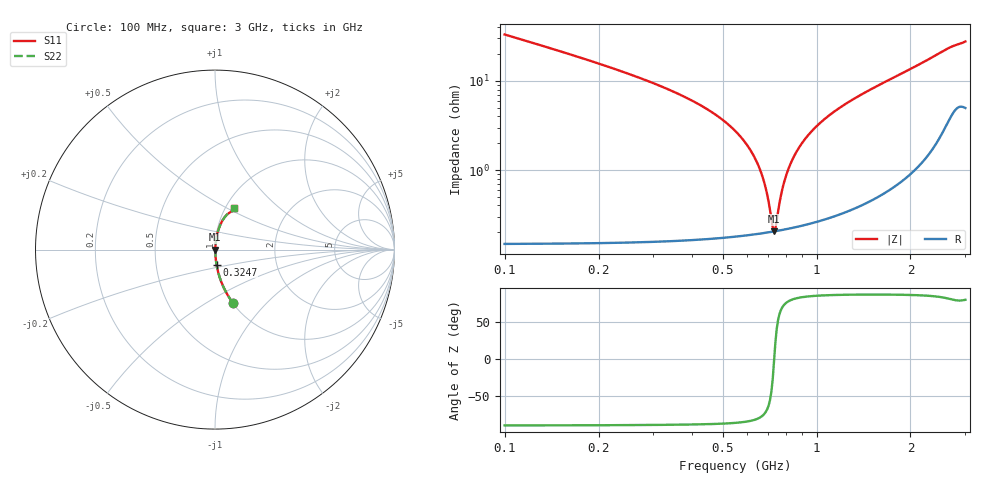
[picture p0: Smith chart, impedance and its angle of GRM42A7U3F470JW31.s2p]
!Murata Part Number: GRM42A7U3F470JW31
!These Parameters are Measured in Series Mode Connection
!Data Generated on Mar 30, 2021
!  o--ll--o
!Port1  Port2
!  o------o
!Operation Temp=25[degC], DC Bias Voltage=0[V]
!Freq. Start=100[MHz] Stop=3[GHz] 401[Steps]
# Hz S RI R 50
!Freq.(Hz) S11(Real) S11(Imag) S21(Real) S21(Imag) S12(Real) S12(Imag) S22(Real) S22(Imag)
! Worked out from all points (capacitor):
!   401 points, 100 MHz to 3 GHz, reference 50 ohm
!   read as one part in series: C = 46.9 pF near 114.5 MHz
!   lowest |Z| = 205 mohm at 730.8 MHz (marker M1)
!   series resonance near 731.6 MHz, so ESL is about 1 nH
!   S11 on the Smith chart (normalised r, x): 100 MHz: 1.00, -0.66; 324.8 MHz: 1.00, -0.17; 3 GHz: 1.10, +0.55
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1e8  0.1006 -0.2986  0.8994 0.2986  0.8994 0.2986  0.1006 -0.2986
1.9425e8  0.0271 -0.1577  0.9729 0.1577  0.9729 0.1577  0.0271 -0.1577
3.2475e8  0.00857 -0.0833  0.9914 0.0833  0.9914 0.0833  0.00857 -0.0833
4.915e8  0.00317 -0.0381  0.9968 0.0381  0.9968 0.0381  0.00317 -0.0381
5.8575e8  0.00227 -0.021  0.9977 0.021  0.9977 0.021  0.00227 -0.021
6.2925e8  0.00209 -0.0142  0.9979 0.0142  0.9979 0.0142  0.00209 -0.0142
6.655e8  0.00202 -0.00893  0.998 0.00893  0.998 0.00893  0.00202 -0.00893
6.8725e8  0.00201 -0.0059  0.998 0.0059  0.998 0.0059  0.00201 -0.0059
7.1625e8  0.00202 -0.002  0.998 0.002  0.998 0.002  0.00202 -0.002
7.3075e8  0.00204 -0.000105  0.998 0.000105  0.998 0.000105  0.00204 -0.000105
7.4525e8  0.00207 0.00176  0.9979 -0.00176  0.9979 -0.00176  0.00207 0.00176
7.67e8  0.00212 0.00449  0.9979 -0.00449  0.9979 -0.00449  0.00212 0.00449
7.8875e8  0.00219 0.00716  0.9978 -0.00716  0.9978 -0.00716  0.00219 0.00716
8.1775e8  0.00231 0.0106  0.9977 -0.0106  0.9977 -0.0106  0.00231 0.0106
8.4675e8  0.00245 0.014  0.9975 -0.014  0.9975 -0.014  0.00245 0.014
9.41e8  0.00306 0.0245  0.9969 -0.0245  0.9969 -0.0245  0.00306 0.0245
1.0715e9  0.00425 0.038  0.9957 -0.038  0.9957 -0.038  0.00425 0.038
1.2745e9  0.00687 0.058  0.9931 -0.058  0.9931 -0.058  0.00687 0.058
1.55e9  0.0121 0.0847  0.9879 -0.0847  0.9879 -0.0847  0.0121 0.0847
2.03575e9  0.0282 0.1352  0.9718 -0.1352  0.9718 -0.1352  0.0282 0.1352
2.5215e9  0.0644 0.1925  0.9356 -0.1925  0.9356 -0.1925  0.0644 0.1925
3e9  0.1077 0.2321  0.8923 -0.2321  0.8923 -0.2321  0.1077 0.2321
